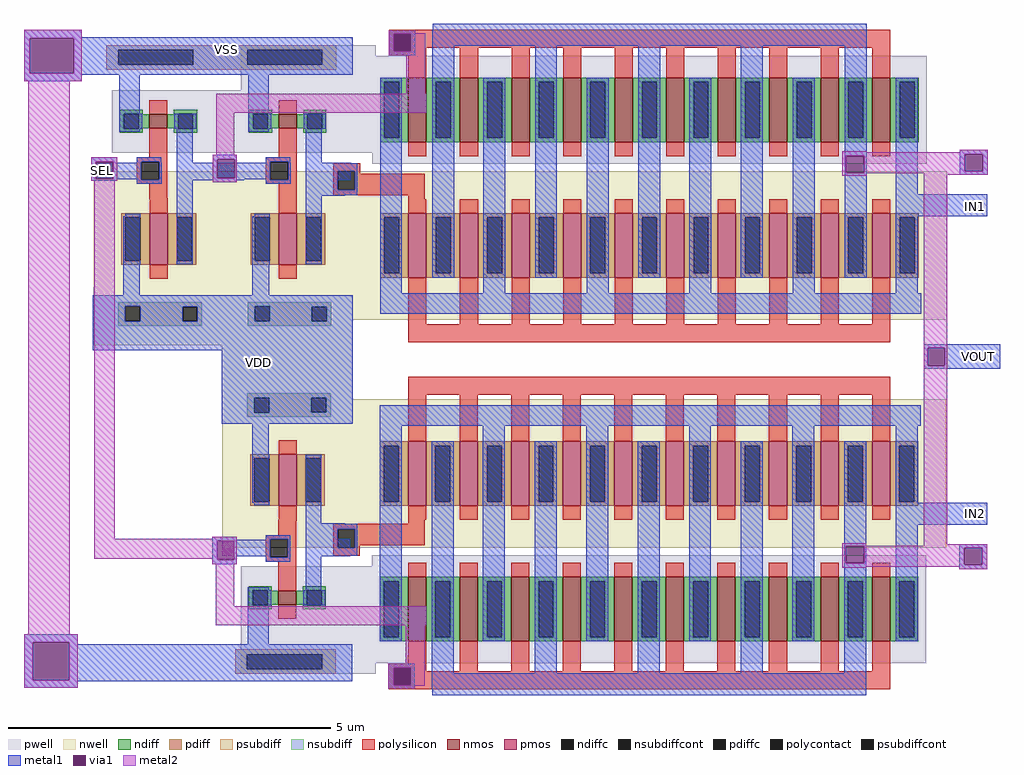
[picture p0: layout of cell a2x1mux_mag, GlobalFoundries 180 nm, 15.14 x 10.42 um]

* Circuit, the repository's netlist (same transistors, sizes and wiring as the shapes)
* NGSPICE file created from a2x1mux_mag.ext - technology: gf180mcuC

.subckt pmos_3p3_MQGBLR a_n28_n124# a_n116_n80# a_28_n80# w_n202_n210#
X0 a_28_n80# a_n28_n124# a_n116_n80# w_n202_n210# pfet_03v3 ad=0.352p pd=2.48u as=0.352p ps=2.48u w=0.8u l=0.28u
.ends

.subckt nmos_3p3_DDNVWA a_n120_n36# a_28_n22# a_n28_n66# VSUBS
X0 a_28_n22# a_n28_n66# a_n120_n36# VSUBS nfet_03v3 ad=0.152p pd=1.64u as=0.152p ps=1.64u w=0.22u l=0.28u
.ends

.subckt inv_my_mag VDD VSS IN OUT
Xpmos_3p3_MQGBLR_0 IN VDD OUT VDD pmos_3p3_MQGBLR
Xnmos_3p3_DDNVWA_0 VSS OUT IN VSS nmos_3p3_DDNVWA
.ends

.subckt pmos_3p3_Q354KU a_212_n144# a_268_n100# a_n692_n100# a_n268_n144# a_372_n144#
+ a_428_n100# a_n52_n100# a_n428_n144# a_532_n144# a_588_n100# w_n922_n230# a_n212_n100#
+ a_n588_n144# a_692_n144# a_748_n100# a_n372_n100# a_n748_n144# a_108_n100# a_52_n144#
+ a_n836_n100# a_n532_n100# a_n108_n144#
X0 a_n52_n100# a_n108_n144# a_n212_n100# w_n922_n230# pfet_03v3 ad=0.26p pd=1.52u as=0.26p ps=1.52u w=1u l=0.28u
X1 a_588_n100# a_532_n144# a_428_n100# w_n922_n230# pfet_03v3 ad=0.26p pd=1.52u as=0.26p ps=1.52u w=1u l=0.28u
X2 a_n212_n100# a_n268_n144# a_n372_n100# w_n922_n230# pfet_03v3 ad=0.26p pd=1.52u as=0.26p ps=1.52u w=1u l=0.28u
X3 a_n692_n100# a_n748_n144# a_n836_n100# w_n922_n230# pfet_03v3 ad=0.26p pd=1.52u as=0.44p ps=2.88u w=1u l=0.28u
X4 a_748_n100# a_692_n144# a_588_n100# w_n922_n230# pfet_03v3 ad=0.44p pd=2.88u as=0.26p ps=1.52u w=1u l=0.28u
X5 a_108_n100# a_52_n144# a_n52_n100# w_n922_n230# pfet_03v3 ad=0.26p pd=1.52u as=0.26p ps=1.52u w=1u l=0.28u
X6 a_268_n100# a_212_n144# a_108_n100# w_n922_n230# pfet_03v3 ad=0.26p pd=1.52u as=0.26p ps=1.52u w=1u l=0.28u
X7 a_n372_n100# a_n428_n144# a_n532_n100# w_n922_n230# pfet_03v3 ad=0.26p pd=1.52u as=0.26p ps=1.52u w=1u l=0.28u
X8 a_428_n100# a_372_n144# a_268_n100# w_n922_n230# pfet_03v3 ad=0.26p pd=1.52u as=0.26p ps=1.52u w=1u l=0.28u
X9 a_n532_n100# a_n588_n144# a_n692_n100# w_n922_n230# pfet_03v3 ad=0.26p pd=1.52u as=0.26p ps=1.52u w=1u l=0.28u
.ends

.subckt nmos_3p3_W9BEG7 a_212_n144# a_268_n100# a_n692_n100# a_n268_n144# a_372_n144#
+ a_428_n100# a_n52_n100# a_n428_n144# a_532_n144# a_588_n100# a_n212_n100# a_n588_n144#
+ a_692_n144# a_748_n100# a_n372_n100# a_n748_n144# a_108_n100# a_52_n144# a_n836_n100#
+ a_n532_n100# a_n108_n144# VSUBS
X0 a_n52_n100# a_n108_n144# a_n212_n100# VSUBS nfet_03v3 ad=0.26p pd=1.52u as=0.26p ps=1.52u w=1u l=0.28u
X1 a_588_n100# a_532_n144# a_428_n100# VSUBS nfet_03v3 ad=0.26p pd=1.52u as=0.26p ps=1.52u w=1u l=0.28u
X2 a_n212_n100# a_n268_n144# a_n372_n100# VSUBS nfet_03v3 ad=0.26p pd=1.52u as=0.26p ps=1.52u w=1u l=0.28u
X3 a_n692_n100# a_n748_n144# a_n836_n100# VSUBS nfet_03v3 ad=0.26p pd=1.52u as=0.44p ps=2.88u w=1u l=0.28u
X4 a_748_n100# a_692_n144# a_588_n100# VSUBS nfet_03v3 ad=0.44p pd=2.88u as=0.26p ps=1.52u w=1u l=0.28u
X5 a_108_n100# a_52_n144# a_n52_n100# VSUBS nfet_03v3 ad=0.26p pd=1.52u as=0.26p ps=1.52u w=1u l=0.28u
X6 a_268_n100# a_212_n144# a_108_n100# VSUBS nfet_03v3 ad=0.26p pd=1.52u as=0.26p ps=1.52u w=1u l=0.28u
X7 a_n372_n100# a_n428_n144# a_n532_n100# VSUBS nfet_03v3 ad=0.26p pd=1.52u as=0.26p ps=1.52u w=1u l=0.28u
X8 a_428_n100# a_372_n144# a_268_n100# VSUBS nfet_03v3 ad=0.26p pd=1.52u as=0.26p ps=1.52u w=1u l=0.28u
X9 a_n532_n100# a_n588_n144# a_n692_n100# VSUBS nfet_03v3 ad=0.26p pd=1.52u as=0.26p ps=1.52u w=1u l=0.28u
.ends

.subckt Transmission_gate_mag CLK VDD VIN VOUT VSS
Xinv_my_mag_0 VDD VSS CLK inv_my_mag_0/OUT inv_my_mag
Xpmos_3p3_Q354KU_0 inv_my_mag_0/OUT VOUT VOUT inv_my_mag_0/OUT inv_my_mag_0/OUT VIN
+ VOUT inv_my_mag_0/OUT inv_my_mag_0/OUT VOUT VDD VIN inv_my_mag_0/OUT inv_my_mag_0/OUT
+ VIN VOUT inv_my_mag_0/OUT VIN inv_my_mag_0/OUT VIN VIN inv_my_mag_0/OUT pmos_3p3_Q354KU
Xnmos_3p3_W9BEG7_0 CLK VOUT VOUT CLK CLK VIN VOUT CLK CLK VOUT VIN CLK CLK VIN VOUT
+ CLK VIN CLK VIN VIN CLK VSS nmos_3p3_W9BEG7
.ends

.subckt a2x1mux_mag IN1 IN2 SEL VOUT VDD VSS
Xinv_my_mag_0 VDD VSS SEL inv_my_mag_0/OUT inv_my_mag
XTransmission_gate_mag_0 inv_my_mag_0/OUT VDD IN1 VOUT VSS Transmission_gate_mag
XTransmission_gate_mag_1 SEL VDD IN2 VOUT VSS Transmission_gate_mag
.ends

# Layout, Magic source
magic
tech gf180mcuC
magscale 1 10
<< nwell >>
rect -1 -222 405 13
rect 397 -244 405 -222
<< pwell >>
rect -248 524 110 718
rect 153 524 545 718
<< psubdiff >>
rect -55 782 70 858
<< metal1 >>
rect -615 882 -435 905
rect -615 879 405 882
rect -615 770 -597 879
rect -461 770 405 879
rect -615 766 405 770
rect -615 745 -435 766
rect -406 496 -326 509
rect -406 443 -393 496
rect -338 443 -326 496
rect -406 436 -326 443
rect -81 439 69 492
rect 2309 327 2375 395
rect -1 12 405 13
rect -1 -222 406 12
rect 2178 -81 2414 -71
rect 2178 -137 2190 -81
rect 2243 -137 2414 -81
rect 2178 -147 2414 -137
rect 0 -316 406 -222
rect 2309 -631 2375 -563
rect -615 -995 -448 -971
rect -615 -1113 -588 -995
rect -475 -1002 -448 -995
rect -475 -1113 113 -1002
rect -615 -1116 113 -1113
rect -615 -1137 -448 -1116
<< via1 >>
rect -597 770 -461 879
rect -393 443 -338 496
rect 2190 -137 2243 -81
rect -588 -1113 -475 -995
<< metal2 >>
rect -615 879 -435 905
rect -615 770 -597 879
rect -461 770 -435 879
rect -615 745 -435 770
rect -602 -971 -473 745
rect -406 496 -326 509
rect -406 443 -393 496
rect -338 443 -326 496
rect -406 436 -326 443
rect 2178 475 2250 525
rect 2178 456 2303 475
rect -397 -674 -334 436
rect 2178 -81 2250 456
rect 2178 -137 2190 -81
rect 2243 -137 2250 -81
rect -397 -737 40 -674
rect 2178 -692 2250 -137
rect 2178 -696 2306 -692
rect 2178 -761 2250 -696
rect -615 -995 -448 -971
rect -615 -1113 -588 -995
rect -475 -1113 -448 -995
rect -615 -1137 -448 -1113
use inv_my_mag  inv_my_mag_0
transform 1 0 -340 0 -1 938
box -61 58 345 1028
use Transmission_gate_mag  Transmission_gate_mag_0
transform 1 0 -314 0 -1 1007
box 285 83 2690 1097
use Transmission_gate_mag  Transmission_gate_mag_1
transform 1 0 -315 0 1 -1243
box 285 83 2690 1097
<< labels >>
flabel metal1 2338 357 2338 357 0 FreeSans 480 0 0 0 IN1
port 0 nsew
flabel metal1 2338 -597 2338 -597 0 FreeSans 480 0 0 0 IN2
port 1 nsew
flabel via1 -371 469 -371 469 0 FreeSans 480 0 0 0 SEL
port 2 nsew
flabel metal1 2346 -109 2346 -109 0 FreeSans 480 0 0 0 VOUT
port 3 nsew
flabel metal1 113 -128 113 -124 0 FreeSans 480 0 0 0 VDD
port 4 nsew
flabel metal1 15 843 15 843 0 FreeSans 480 0 0 0 VSS
port 5 nsew
<< end >>

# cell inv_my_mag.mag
magic
tech gf180mcuC
magscale 1 10
<< nwell >>
rect -60 831 344 1012
rect 114 556 171 558
<< psubdiff >>
rect -20 141 293 156
rect -20 94 17 141
rect 250 94 293 141
rect -20 80 293 94
<< nsubdiff >>
rect 18 938 277 951
rect 18 937 217 938
rect 18 891 40 937
rect 86 892 217 937
rect 263 892 277 938
rect 86 891 277 892
rect 18 878 277 891
<< psubdiffcont >>
rect 17 94 250 141
<< nsubdiffcont >>
rect 40 891 86 937
rect 217 892 263 938
<< polysilicon >>
rect 114 556 171 558
rect 114 511 170 556
rect 75 498 170 511
rect 75 442 89 498
rect 144 442 170 498
rect 75 428 170 442
rect 114 383 170 428
<< polycontact >>
rect 89 442 144 498
<< metal1 >>
rect -61 938 344 1028
rect -61 937 217 938
rect -61 891 40 937
rect 86 892 217 937
rect 263 892 344 938
rect 86 891 344 892
rect -61 857 344 891
rect 33 612 85 857
rect 75 498 152 511
rect 75 496 89 498
rect -61 446 89 496
rect 75 442 89 446
rect 144 446 152 498
rect 199 499 248 760
rect 199 446 338 499
rect 144 442 151 446
rect 75 428 151 442
rect 20 172 84 349
rect 199 294 248 446
rect -61 141 344 172
rect -61 94 17 141
rect 250 94 344 141
rect -61 58 344 94
use nmos_3p3_DDNVWA  nmos_3p3_DDNVWA_0
transform 1 0 142 0 1 317
box -144 -97 144 97
use pmos_3p3_MQGBLR  pmos_3p3_MQGBLR_0
transform 1 0 143 0 1 682
box -202 -210 202 210
<< labels >>
flabel psubdiffcont 134 118 134 118 0 FreeSans 480 0 0 0 VSS
port 6 nsew
flabel metal1 -37 469 -37 469 0 FreeSans 320 0 0 0 IN
port 8 nsew
flabel metal1 307 471 307 471 0 FreeSans 320 0 0 0 OUT
port 9 nsew
<< end >>

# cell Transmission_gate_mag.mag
magic
tech gf180mcuC
magscale 1 10
<< pwell >>
rect 467 295 907 483
rect 372 289 907 295
rect 372 150 791 289
<< polysilicon >>
rect 892 1016 2388 1072
rect 892 915 948 1016
rect 1052 915 1108 1016
rect 1212 915 1268 1016
rect 1372 915 1428 1016
rect 1532 915 1588 1016
rect 1692 915 1748 1016
rect 1852 915 1908 1016
rect 2012 915 2068 1016
rect 2172 915 2228 1016
rect 2332 915 2388 1016
rect 892 616 943 671
rect 659 598 943 616
rect 659 541 673 598
rect 726 549 943 598
rect 726 541 742 549
rect 659 516 742 541
rect 891 181 948 207
rect 831 166 948 181
rect 831 119 851 166
rect 897 158 948 166
rect 1052 158 1108 206
rect 1212 158 1268 206
rect 1372 158 1428 206
rect 1532 158 1588 206
rect 1692 158 1748 206
rect 1852 158 1908 206
rect 2012 158 2068 206
rect 2172 158 2228 206
rect 2332 158 2388 206
rect 897 119 2388 158
rect 831 103 2388 119
rect 832 102 2388 103
<< polycontact >>
rect 673 541 726 598
rect 851 119 897 166
<< metal1 >>
rect 314 926 719 1097
rect 804 920 2483 983
rect 620 616 695 617
rect 620 598 734 616
rect 285 565 360 575
rect 285 562 418 565
rect 285 504 299 562
rect 353 515 418 562
rect 620 541 673 598
rect 726 541 734 598
rect 620 517 734 541
rect 659 516 734 517
rect 353 504 360 515
rect 285 490 360 504
rect 804 250 872 920
rect 314 127 719 241
rect 831 169 913 181
rect 831 114 847 169
rect 900 114 913 169
rect 831 103 913 114
rect 966 151 1034 871
rect 1124 250 1192 920
rect 1285 151 1353 871
rect 1445 250 1513 920
rect 1605 151 1673 871
rect 1764 250 1832 920
rect 1924 151 1992 871
rect 2085 251 2153 920
rect 2246 545 2314 871
rect 2246 492 2251 545
rect 2307 492 2314 545
rect 2246 151 2314 492
rect 2405 680 2473 920
rect 2405 612 2689 680
rect 2405 251 2473 612
rect 2603 540 2690 551
rect 2603 488 2618 540
rect 2674 488 2690 540
rect 2603 474 2690 488
rect 966 101 2314 151
rect 967 83 2314 101
<< via1 >>
rect 299 504 353 562
rect 847 166 900 169
rect 847 119 851 166
rect 851 119 897 166
rect 897 119 900 166
rect 847 114 900 119
rect 2251 492 2307 545
rect 2618 488 2674 540
<< metal2 >>
rect 285 562 360 575
rect 285 504 299 562
rect 353 504 360 562
rect 285 490 360 504
rect 2239 547 2314 554
rect 2603 547 2690 551
rect 2239 545 2690 547
rect 2239 492 2251 545
rect 2307 540 2690 545
rect 2307 492 2618 540
rect 295 359 352 490
rect 2239 488 2618 492
rect 2674 488 2690 540
rect 2239 482 2690 488
rect 2239 478 2314 482
rect 2603 474 2690 482
rect 295 300 948 359
rect 885 181 944 300
rect 831 169 944 181
rect 831 114 847 169
rect 900 114 944 169
rect 831 112 944 114
rect 831 103 913 112
use inv_my_mag  inv_my_mag_0
transform 1 0 375 0 1 69
box -61 58 345 1028
use nmos_3p3_W9BEG7  nmos_3p3_W9BEG7_0
transform 1 0 1640 0 1 350
box -860 -168 860 168
use pmos_3p3_Q354KU  pmos_3p3_Q354KU_0
transform 1 0 1640 0 1 771
box -922 -230 922 230
<< labels >>
flabel via1 323 537 323 537 0 FreeSans 480 0 0 0 CLK
port 2 nsew
flabel metal1 505 1060 505 1060 0 FreeSans 480 0 0 0 VDD
port 3 nsew
flabel metal1 498 179 498 179 0 FreeSans 480 0 0 0 VSS
port 4 nsew
flabel metal1 2663 654 2663 654 0 FreeSans 480 0 0 0 VIN
port 5 nsew
flabel via1 2640 510 2640 510 0 FreeSans 480 0 0 0 VOUT
port 6 nsew
<< end >>

# cell nmos_3p3_W9BEG7: kit device nmos_3p3, w 1 l 0.280 m 1 nf 10 diffcov 100 polycov 100 guard 0 glc 0 grc 0 gtc 0 gbc 0 tbcov 100 rlcov 100 topc 0 botc 0 poverlap 0 doverlap 1 lmin 0.28 wmin 0.22 full_metal 0 compatible {nmos_3p3 nmos_6p0 nmos_6p0_nat}

# cell pmos_3p3_Q354KU: kit device pmos_3p3, w 1 l 0.280 m 1 nf 10 diffcov 100 polycov 100 guard 0 glc 0 grc 0 gtc 0 gbc 0 tbcov 100 rlcov 100 topc 0 botc 0 poverlap 0 doverlap 1 lmin 0.28 wmin 0.22 full_metal 0 compatible {pmos_3p3 pmos_6p0}

# cell nmos_3p3_DDNVWA: kit device nmos_3p3, w 0.220 l 0.280 m 1 nf 1 diffcov 100 polycov 100 guard 0 glc 0 grc 0 gtc 0 gbc 0 tbcov 100 rlcov 100 topc 0 botc 0 poverlap 0 doverlap 1 lmin 0.28 wmin 0.22 full_metal 0 compatible {nmos_3p3 nmos_6p0 nmos_6p0_nat}

# cell pmos_3p3_MQGBLR: kit device pmos_3p3, w 0.8 l 0.280 m 1 nf 1 diffcov 100 polycov 100 guard 0 glc 0 grc 0 gtc 0 gbc 0 tbcov 100 rlcov 100 topc 0 botc 0 poverlap 0 doverlap 1 lmin 0.28 wmin 0.22 full_metal 0 compatible {pmos_3p3 pmos_6p0}
